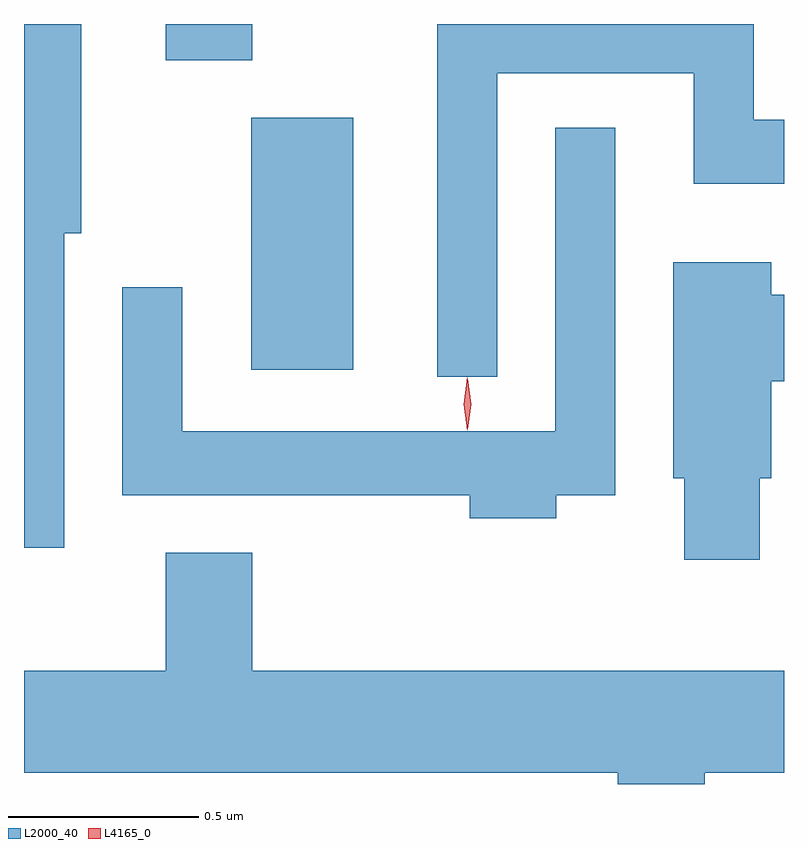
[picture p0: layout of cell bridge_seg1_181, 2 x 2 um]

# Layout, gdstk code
import gdstk
lib = gdstk.Library(unit=1e-6, precision=1e-09)
def R(c, l, rs):  # rectangles x0, y0, x1, y1
    for r in rs: c.add(gdstk.rectangle(r[:2], r[2:], *l))
def P(c, l, *ps):  # polygons
    for p in ps: c.add(gdstk.Polygon(p, *l))
L2000_40 = (2000, 40)
L4165_0 = (4165, 0)

bridge_seg1_181 = lib.new_cell('bridge_seg1_181')
R(bridge_seg1_181, L2000_40, [(797.276,931.716,797.544,932.379), (797.051,932.531,797.279,932.626)])
P(bridge_seg1_181, L2000_40, [(796.784,932.076),(796.829,932.076),(796.829,932.626),(796.678,932.626),(796.678,931.248),(796.784,931.248)],
  [(797.924,932.496),(798.441,932.496),(798.441,932.206),(798.678,932.206),(798.678,932.374),(798.599,932.374),(798.599,932.626),(797.766,932.626),(797.766,931.698),(797.924,931.698)],
  [(798.079,931.386),(798.234,931.386),(798.234,932.353),(798.076,932.353),(798.076,931.554),(797.094,931.554),(797.094,931.933),(796.936,931.933),(796.936,931.386),(797.851,931.386),(797.851,931.326),(798.079,931.326)],
  [(798.614,931.431),(798.644,931.431),(798.644,931.686),(798.678,931.686),(798.678,931.914),(798.644,931.914),(798.644,931.999),(798.386,931.999),(798.386,931.431),(798.416,931.431),(798.416,931.216),(798.614,931.216)],
  [(798.469,930.656),(798.678,930.656),(798.678,930.924),(797.279,930.924),(797.279,931.234),(797.051,931.234),(797.051,930.924),(796.678,930.924),(796.678,930.656),(798.241,930.656),(798.241,930.626),(798.469,930.626)])
P(bridge_seg1_181, L4165_0, [(797.845,931.56),(797.835,931.626),(797.845,931.692),(797.845,931.693),(797.846,931.692),(797.855,931.626),(797.846,931.56),(797.846,931.56)],
  [(797.844,931.557),(797.835,931.626),(797.844,931.696),(797.845,931.696),(797.845,931.696),(797.855,931.626),(797.845,931.557),(797.845,931.557)])

lib.write_gds('bridge_seg1_181.gds')
